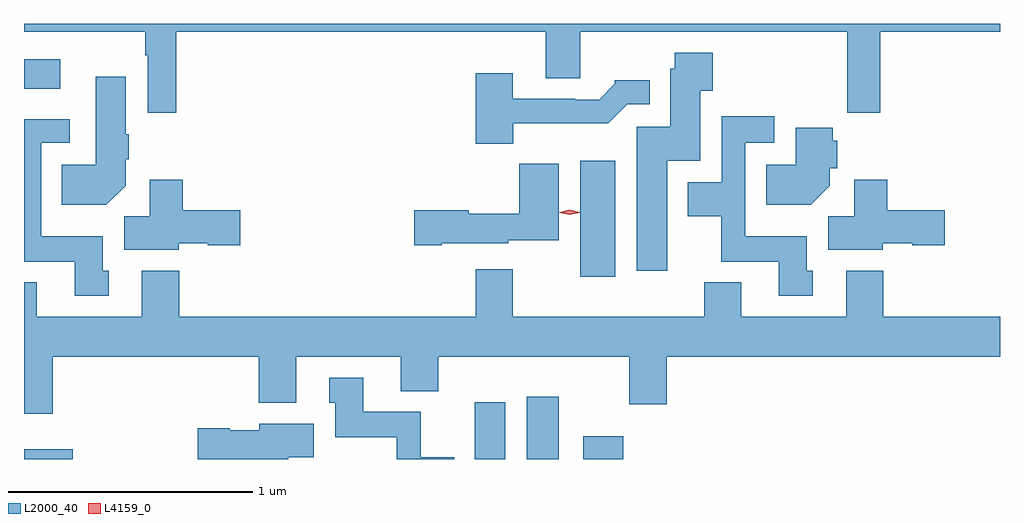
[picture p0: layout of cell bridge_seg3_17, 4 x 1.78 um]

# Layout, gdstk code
import gdstk
lib = gdstk.Library(unit=1e-6, precision=1e-09)
def R(c, l, rs):  # rectangles x0, y0, x1, y1
    for r in rs: c.add(gdstk.rectangle(r[:2], r[2:], *l))
def P(c, l, *ps):  # polygons
    for p in ps: c.add(gdstk.Polygon(p, *l))
L2000_40 = (2000, 40)
L4159_0 = (4159, 0)

bridge_seg3_17 = lib.new_cell('bridge_seg3_17')
R(bridge_seg3_17, L2000_40, [(772.238,747.117,772.438,747.157), (774.086,747.117,774.211,747.349), (774.299,747.117,774.43,747.373), (774.53,747.117,774.694,747.211), (774.518,747.864,774.661,748.339), (772.238,748.634,772.387,748.756)])
P(bridge_seg3_17, L2000_40, [(772.862,748.868),(774.377,748.868),(774.377,748.678),(774.517,748.678),(774.517,748.868),(775.612,748.868),(775.612,748.536),(775.748,748.536),(775.748,748.868),(776.238,748.868),(776.238,748.9),(772.238,748.9),(772.238,748.868),(772.734,748.868),(772.734,748.772),(772.746,748.772),(772.746,748.536),(772.862,748.536)],
  [(774.874,748.34),(775.009,748.34),(775.009,748.627),(775.061,748.627),(775.061,748.783),(774.904,748.783),(774.904,748.716),(774.887,748.716),(774.887,748.479),(774.749,748.479),(774.749,747.888),(774.874,747.888)],
  [(774.244,748.494),(774.633,748.494),(774.711,748.572),(774.802,748.572),(774.802,748.669),(774.66,748.669),(774.66,748.654),(774.596,748.59),(774.497,748.59),(774.497,748.593),(774.241,748.593),(774.241,748.699),(774.089,748.699),(774.089,748.409),(774.244,748.409)],
  [(772.654,748.238),(772.654,748.345),(772.667,748.345),(772.667,748.448),(772.654,748.448),(772.654,748.684),(772.532,748.684),(772.532,748.324),(772.393,748.324),(772.393,748.16),(772.576,748.16)],
  [(775.471,747.888),(775.447,747.888),(775.447,748.03),(775.194,748.03),(775.194,748.413),(775.312,748.413),(775.312,748.522),(775.098,748.522),(775.098,748.252),(774.959,748.252),(774.959,748.112),(775.096,748.112),(775.096,747.926),(775.331,747.926),(775.331,747.786),(775.471,747.786)],
  [(772.585,747.888),(772.561,747.888),(772.561,748.03),(772.308,748.03),(772.308,748.413),(772.426,748.413),(772.426,748.509),(772.238,748.509),(772.238,747.926),(772.445,747.926),(772.445,747.786),(772.585,747.786)],
  [(775.54,748.238),(775.54,748.308),(775.571,748.308),(775.571,748.422),(775.553,748.422),(775.553,748.474),(775.4,748.474),(775.4,748.324),(775.279,748.324),(775.279,748.16),(775.462,748.16)],
  [(773.95,748.001),(774.222,748.001),(774.222,748.013),(774.43,748.013),(774.43,748.327),(774.268,748.327),(774.268,748.123),(774.06,748.123),(774.06,748.136),(773.838,748.136),(773.838,747.994),(773.95,747.994)],
  [(775.758,748.001),(775.878,748.001),(775.878,747.994),(776.011,747.994),(776.011,748.136),(775.775,748.136),(775.775,748.261),(775.64,748.261),(775.64,748.112),(775.535,748.112),(775.535,747.974),(775.758,747.974)],
  [(772.872,748.001),(772.992,748.001),(772.992,747.994),(773.125,747.994),(773.125,748.136),(772.889,748.136),(772.889,748.261),(772.754,748.261),(772.754,748.112),(772.649,748.112),(772.649,747.974),(772.872,747.974)],
  [(772.355,747.536),(773.201,747.536),(773.201,747.347),(773.353,747.347),(773.353,747.536),(773.783,747.536),(773.783,747.395),(773.936,747.395),(773.936,747.536),(774.719,747.536),(774.719,747.342),(774.872,747.342),(774.872,747.536),(776.238,747.536),(776.238,747.7),(775.76,747.7),(775.76,747.889),(775.607,747.889),(775.607,747.7),(775.177,747.7),(775.177,747.841),(775.025,747.841),(775.025,747.7),(774.241,747.7),(774.241,747.895),(774.089,747.895),(774.089,747.7),(772.874,747.7),(772.874,747.889),(772.721,747.889),(772.721,747.7),(772.291,747.7),(772.291,747.841),(772.238,747.841),(772.238,747.303),(772.355,747.303)],
  [(774.001,747.124),(773.865,747.124),(773.865,747.31),(773.629,747.31),(773.629,747.451),(773.489,747.451),(773.489,747.348),(773.513,747.348),(773.513,747.206),(773.766,747.206),(773.766,747.117),(774.001,747.117)],
  [(773.32,747.124),(773.425,747.124),(773.425,747.262),(773.202,747.262),(773.202,747.235),(773.082,747.235),(773.082,747.243),(772.95,747.243),(772.95,747.117),(773.32,747.117)])
P(bridge_seg3_17, L4159_0, [(774.474,748.118),(774.433,748.127),(774.433,748.128),(774.433,748.128),(774.474,748.138),(774.516,748.128),(774.516,748.127),(774.516,748.127)])

lib.write_gds('bridge_seg3_17.gds')
